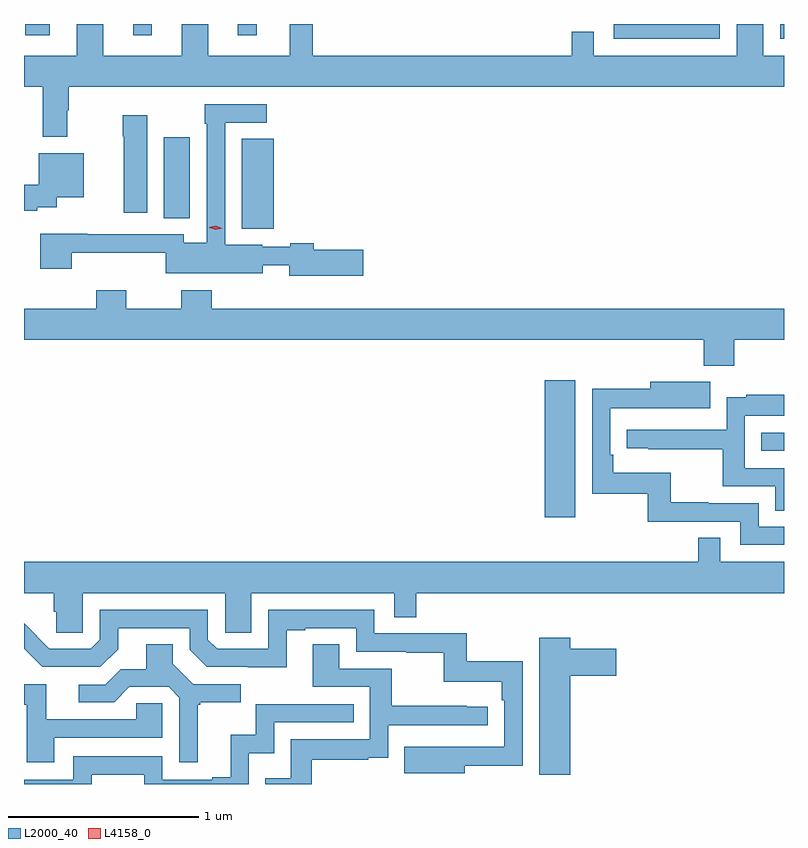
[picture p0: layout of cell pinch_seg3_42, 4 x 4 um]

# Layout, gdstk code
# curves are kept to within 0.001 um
import gdstk
lib = gdstk.Library(unit=1e-6, precision=1e-09)
def R(c, l, rs):  # rectangles x0, y0, x1, y1
    for r in rs: c.add(gdstk.rectangle(r[:2], r[2:], *l))
def P(c, l, *ps):  # polygons
    for p in ps: c.add(gdstk.Polygon(p, *l))
L2000_40 = (2000, 40)
L4158_0 = (4158, 0)

pinch_seg3_42 = lib.new_cell('pinch_seg3_42')
R(pinch_seg3_42, L2000_40, [(1108.634,730.62,1108.795,731.341), (1109.773,730.968,1109.894,731.064), (1107.041,732.137,1107.208,732.611), (1106.63,732.193,1106.767,732.619), (1108.998,733.137,1109.556,733.215), (1109.874,733.137,1109.894,733.215), (1105.901,733.155,1106.029,733.215), (1106.468,733.155,1106.566,733.215), (1107.02,733.155,1107.118,733.215)])
P(pinch_seg3_42, L2000_40, [(1106.122,732.761),(1106.129,732.761),(1106.129,732.884),(1109.894,732.884),(1109.894,733.048),(1109.784,733.048),(1109.784,733.215),(1109.645,733.215),(1109.645,733.048),(1108.893,733.048),(1108.893,733.175),(1108.777,733.175),(1108.777,733.048),(1107.415,733.048),(1107.415,733.215),(1107.293,733.215),(1107.293,733.048),(1106.863,733.048),(1106.863,733.215),(1106.723,733.215),(1106.723,733.048),(1106.311,733.048),(1106.311,733.215),(1106.171,733.215),(1106.171,733.048),(1105.894,733.048),(1105.894,732.884),(1105.993,732.884),(1105.993,732.621),(1106.122,732.621)],
  [(1107.679,732.026),(1107.418,732.026),(1107.418,732.062),(1107.294,732.062),(1107.294,732.042),(1107.147,732.042),(1107.147,732.052),(1106.952,732.052),(1106.952,732.696),(1107.172,732.696),(1107.172,732.792),(1106.844,732.792),(1106.844,732.689),(1106.856,732.689),(1106.856,732.064),(1106.736,732.064),(1106.736,732.108),(1106.227,732.108),(1106.227,732.11),(1105.979,732.11),(1105.979,731.928),(1106.144,731.928),(1106.144,732.011),(1106.64,732.011),(1106.64,731.903),(1107.151,731.903),(1107.151,731.944),(1107.29,731.944),(1107.29,731.891),(1107.679,731.891)],
  [(1106.542,732.736),(1106.413,732.736),(1106.413,732.623),(1106.42,732.623),(1106.42,732.222),(1106.542,732.222)],
  [(1105.964,732.251),(1106.067,732.251),(1106.067,732.302),(1106.209,732.302),(1106.209,732.535),(1105.971,732.535),(1105.971,732.368),(1105.894,732.368),(1105.894,732.232),(1105.964,732.232)],
  [(1109.631,731.552),(1109.894,731.552),(1109.894,731.716),(1106.882,731.716),(1106.882,731.815),(1106.722,731.815),(1106.722,731.716),(1106.433,731.716),(1106.433,731.815),(1106.273,731.815),(1106.273,731.716),(1105.894,731.716),(1105.894,731.552),(1109.471,731.552),(1109.471,731.417),(1109.631,731.417)],
  [(1109.894,730.569),(1109.76,730.569),(1109.76,730.692),(1109.495,730.692),(1109.495,730.697),(1109.299,730.697),(1109.299,730.852),(1108.994,730.852),(1108.994,730.948),(1108.98,730.948),(1108.98,731.193),(1109.293,731.193),(1109.293,731.192),(1109.507,731.192),(1109.507,731.332),(1109.189,731.332),(1109.189,731.294),(1108.884,731.294),(1108.884,730.743),(1109.178,730.743),(1109.178,730.596),(1109.664,730.596),(1109.664,730.473),(1109.894,730.473)],
  [(1109.894,730.878),(1109.688,730.878),(1109.688,731.154),(1109.894,731.154),(1109.894,731.263),(1109.695,731.263),(1109.695,731.251),(1109.592,731.251),(1109.592,731.079),(1109.067,731.079),(1109.067,730.983),(1109.179,730.983),(1109.179,730.978),(1109.572,730.978),(1109.572,730.782),(1109.849,730.782),(1109.849,730.654),(1109.894,730.654)],
  [(1106.202,730.22),(1106.952,730.22),(1106.952,730.012),(1107.091,730.012),(1107.091,730.22),(1107.843,730.22),(1107.843,730.093),(1107.959,730.093),(1107.959,730.22),(1109.894,730.22),(1109.894,730.384),(1109.559,730.384),(1109.559,730.511),(1109.443,730.511),(1109.443,730.384),(1105.894,730.384),(1105.894,730.22),(1106.051,730.22),(1106.051,730.122),(1106.065,730.122),(1106.065,730.012),(1106.202,730.012)],
  [(1108.213,729.31),(1108.518,729.31),(1108.518,729.862),(1108.225,729.862),(1108.225,730.008),(1107.738,730.008),(1107.738,730.131),(1107.18,730.131),(1107.18,729.927),(1106.91,729.927),(1106.862,729.975),(1106.862,730.131),(1106.292,730.131),(1106.292,729.975),(1106.244,729.927),(1106.028,729.927),(1105.894,730.061),(1105.894,729.926),(1105.989,729.831),(1106.295,729.831),(1106.389,729.925),(1106.389,730.035),(1106.766,730.035),(1106.766,729.921),(1106.856,729.831),(1107.277,729.83),(1107.277,730.023),(1107.373,730.023),(1107.373,730.035),(1107.642,730.035),(1107.642,729.912),(1107.907,729.912),(1107.907,729.907),(1108.104,729.907),(1108.104,729.752),(1108.409,729.752),(1108.409,729.656),(1108.422,729.656),(1108.422,729.411),(1107.895,729.412),(1107.895,729.272),(1108.213,729.272)],
  [(1108.768,729.785),(1109.011,729.785),(1109.011,729.927),(1108.768,729.927),(1108.768,729.985),(1108.607,729.985),(1108.607,729.264),(1108.768,729.264)],
  [(1107.409,729.342),(1107.707,729.342),(1107.707,729.353),(1107.81,729.353),(1107.81,729.525),(1108.336,729.525),(1108.336,729.621),(1108.223,729.621),(1108.223,729.626),(1107.83,729.626),(1107.83,729.822),(1107.553,729.822),(1107.553,729.95),(1107.413,729.95),(1107.413,729.726),(1107.714,729.726),(1107.714,729.45),(1107.298,729.45),(1107.298,729.244),(1107.163,729.244),(1107.163,729.215),(1107.409,729.215)],
  [(1106.809,729.633),(1106.821,729.633),(1106.821,729.644),(1107.034,729.644),(1107.034,729.741),(1106.784,729.741),(1106.677,729.848),(1106.677,729.95),(1106.537,729.95),(1106.537,729.818),(1106.402,729.818),(1106.322,729.738),(1106.181,729.738),(1106.181,729.645),(1106.368,729.645),(1106.449,729.726),(1106.655,729.726),(1106.712,729.669),(1106.712,729.33),(1106.809,729.33)],
  [(1106.053,729.459),(1106.622,729.459),(1106.622,729.639),(1106.485,729.639),(1106.485,729.555),(1106.011,729.555),(1106.011,729.741),(1105.894,729.741),(1105.894,729.633),(1105.909,729.633),(1105.909,729.33),(1106.053,729.33)],
  [(1106.25,729.264),(1106.526,729.264),(1106.526,729.215),(1107.078,729.215),(1107.078,729.377),(1107.21,729.377),(1107.21,729.54),(1107.629,729.54),(1107.629,729.636),(1107.114,729.636),(1107.114,729.475),(1106.981,729.475),(1106.981,729.25),(1106.885,729.25),(1106.885,729.237),(1106.622,729.237),(1106.622,729.36),(1106.154,729.36),(1106.154,729.237),(1105.894,729.237),(1105.894,729.215),(1106.25,729.215)])
P(pinch_seg3_42, L4158_0, [(1106.903,732.132),(1106.869,732.143),(1106.869,732.143),(1106.869,732.144),(1106.904,732.152),(1106.938,732.141),(1106.938,732.141),(1106.938,732.141)])

lib.write_gds('pinch_seg3_42.gds')
